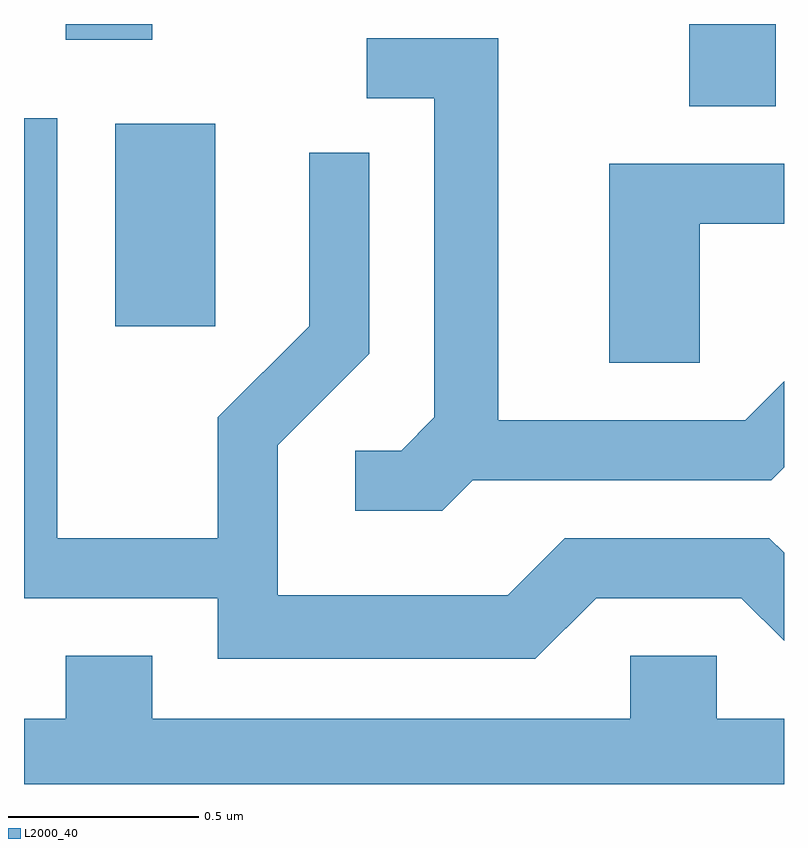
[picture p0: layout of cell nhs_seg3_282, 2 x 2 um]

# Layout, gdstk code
import gdstk
lib = gdstk.Library(unit=1e-6, precision=1e-09)
def R(c, l, rs):  # rectangles x0, y0, x1, y1
    for r in rs: c.add(gdstk.rectangle(r[:2], r[2:], *l))
def P(c, l, *ps):  # polygons
    for p in ps: c.add(gdstk.Polygon(p, *l))
L2000_40 = (2000, 40)

nhs_seg3_282 = lib.new_cell('nhs_seg3_282')
R(nhs_seg3_282, L2000_40, [(187.851,1125.096,188.114,1125.629), (189.361,1125.676,189.589,1125.892), (187.721,1125.851,187.949,1125.892)])
P(nhs_seg3_282, L2000_40, [(188.792,1124.691),(189.577,1124.691),(189.611,1124.725),(189.611,1124.952),(189.509,1124.849),(188.859,1124.849),(188.859,1125.854),(188.513,1125.854),(188.513,1125.696),(188.691,1125.696),(188.691,1124.857),(188.604,1124.769),(188.483,1124.769),(188.483,1124.611),(188.712,1124.611)],
  [(189.117,1124.381),(189.499,1124.381),(189.611,1124.269),(189.611,1124.5),(189.572,1124.539),(189.034,1124.539),(188.884,1124.389),(188.279,1124.389),(188.279,1124.784),(188.519,1125.024),(188.519,1125.553),(188.361,1125.553),(188.361,1125.097),(188.121,1124.857),(188.121,1124.539),(187.699,1124.539),(187.699,1125.644),(187.611,1125.644),(187.611,1124.381),(188.121,1124.381),(188.121,1124.221),(188.957,1124.221)],
  [(189.389,1125.366),(189.611,1125.366),(189.611,1125.524),(189.151,1125.524),(189.151,1125.001),(189.389,1125.001)],
  [(189.611,1124.064),(189.434,1124.064),(189.434,1124.229),(189.206,1124.229),(189.206,1124.064),(187.949,1124.064),(187.949,1124.229),(187.721,1124.229),(187.721,1124.064),(187.611,1124.064),(187.611,1123.892),(189.611,1123.892)])

lib.write_gds('nhs_seg3_282.gds')
